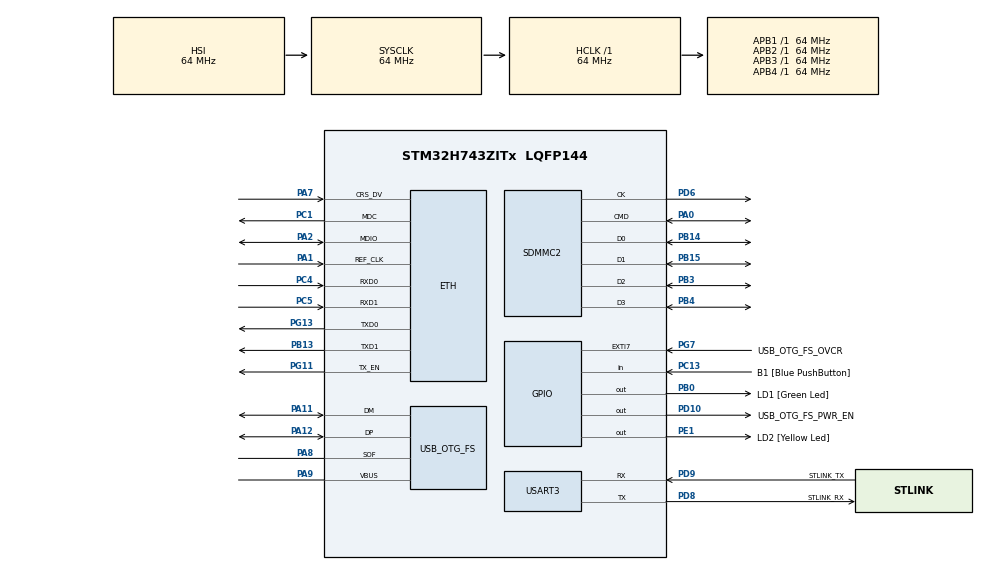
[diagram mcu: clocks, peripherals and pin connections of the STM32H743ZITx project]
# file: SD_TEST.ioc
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ETH.MediaInterface=HAL_ETH_RMII_MODE
Mcu.Family=STM32H7
Mcu.Name=STM32H743ZITx
Mcu.Package=LQFP144
NVIC.PriorityGroup=NVIC_PRIORITYGROUP_4
PA0.Mode=SD_4_bits_Wide_bus
PA0.Signal=SDMMC2_CMD
PA1.Mode=RMII
PA1.Signal=ETH_REF_CLK
PA11.Mode=Device_Only
PA11.Signal=USB_OTG_FS_DM
PA12.Mode=Device_Only
PA12.Signal=USB_OTG_FS_DP
PA2.Mode=RMII
PA2.Signal=ETH_MDIO
PA7.Mode=RMII
PA7.Signal=ETH_CRS_DV
PA8.Mode=Activate_SOF_FS
PA8.Signal=USB_OTG_FS_SOF
PA9.Mode=Activate_VBUS
PA9.Signal=USB_OTG_FS_VBUS
PB0.GPIO_Label=LD1 [Green Led]
PB0.Signal=GPIO_Output
PB13.Mode=RMII
PB13.Signal=ETH_TXD1
PB14.Mode=SD_4_bits_Wide_bus
PB14.Signal=SDMMC2_D0
PB15.Mode=SD_4_bits_Wide_bus
PB15.Signal=SDMMC2_D1
PB3\ (JTDO/TRACESWO).Mode=SD_4_bits_Wide_bus
PB3\ (JTDO/TRACESWO).Signal=SDMMC2_D2
PB4\ (NJTRST).Mode=SD_4_bits_Wide_bus
PB4\ (NJTRST).Signal=SDMMC2_D3
PC1.Mode=RMII
PC1.Signal=ETH_MDC
PC13.GPIO_Label=B1 [Blue PushButton]
PC13.Signal=GPIO_Input
PC14-OSC32_IN\ (OSC32_IN).Mode=LSE-External-Oscillator
PC14-OSC32_IN\ (OSC32_IN).Signal=RCC_OSC32_IN
PC15-OSC32_OUT\ (OSC32_OUT).Mode=LSE-External-Oscillator
PC15-OSC32_OUT\ (OSC32_OUT).Signal=RCC_OSC32_OUT
PC4.Mode=RMII
PC4.Signal=ETH_RXD0
PC5.Mode=RMII
PC5.Signal=ETH_RXD1
PD10.GPIO_Label=USB_OTG_FS_PWR_EN
PD10.Signal=GPIO_Output
PD6.Mode=SD_4_bits_Wide_bus
PD6.Signal=SDMMC2_CK
PD8.GPIO_Label=STLINK_RX
PD8.Mode=Asynchronous
PD8.Signal=USART3_TX
PD9.GPIO_Label=STLINK_TX
PD9.Mode=Asynchronous
PD9.Signal=USART3_RX
PE1.GPIO_Label=LD2 [Yellow Led]
PE1.Signal=GPIO_Output
PG11.Mode=RMII
PG11.Signal=ETH_TX_EN
PG13.Mode=RMII
PG13.Signal=ETH_TXD0
PG7.GPIO_Label=USB_OTG_FS_OVCR
PG7.Signal=GPXTI7
PH0-OSC_IN\ (PH0).Mode=HSE-External-Clock-Source
PH0-OSC_IN\ (PH0).Signal=RCC_OSC_IN
PH1-OSC_OUT\ (PH1).Signal=RCC_OSC_OUT
ProjectManager.HeapSize=0x200
ProjectManager.StackSize=0x400
ProjectManager.TargetToolchain=STM32CubeIDE
RCC.ADCFreq_Value=16125000
RCC.APB1Freq_Value=64000000
RCC.APB2Freq_Value=64000000
RCC.APB3Freq_Value=64000000
RCC.APB4Freq_Value=64000000
RCC.CortexFreq_Value=64000000
RCC.DIVM1=1
RCC.DIVN1=24
RCC.DIVQ1=4
RCC.HCLKFreq_Value=64000000
RCC.HSE_VALUE=8000000
RCC.PLLFRACN=0
RCC.PWR_Regulator_Voltage_Scale=PWR_REGULATOR_VOLTAGE_SCALE2
RCC.SYSCLKFreq_VALUE=64000000
RCC.USBFreq_Value=48000000
SDMMC2.ClockDiv=7
USART3.VirtualMode-Asynchronous=VM_ASYNC
USB_OTG_FS.VirtualMode=Device_Only
board=NUCLEO-H743ZI2

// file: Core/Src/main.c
/* USER CODE BEGIN Header */
/**
  ******************************************************************************
  * @file           : main.c
  * @brief          : Main program body
  ******************************************************************************
  * @attention
  *
  * <h2><center>&copy; Copyright (c) 2022 STMicroelectronics.
  * All rights reserved.</center></h2>
  *
  * This software component is licensed by ST under BSD 3-Clause license,
  * the "License"; You may not use this file except in compliance with the
  * License. You may obtain a copy of the License at:
  *                        opensource.org/licenses/BSD-3-Clause
  *
  ******************************************************************************
  */
/* USER CODE END Header */
#include "main.h"
#include "string.h"

/* USER CODE BEGIN Includes */
#include <stdio.h>
/* USER CODE END Includes */

#if defined ( __ICCARM__ ) /*!< IAR Compiler */
#pragma location=0x30000000
ETH_DMADescTypeDef  DMARxDscrTab[ETH_RX_DESC_CNT]; /* Ethernet Rx DMA Descriptors */
#pragma location=0x30000200
ETH_DMADescTypeDef  DMATxDscrTab[ETH_TX_DESC_CNT]; /* Ethernet Tx DMA Descriptors */
#pragma location=0x30000260
uint8_t Rx_Buff[ETH_RX_DESC_CNT][ETH_MAX_PACKET_SIZE]; /* Ethernet Receive Buffers */

#elif defined ( __CC_ARM )  /* MDK ARM Compiler */

__attribute__((at(0x30000000))) ETH_DMADescTypeDef  DMARxDscrTab[ETH_RX_DESC_CNT]; /* Ethernet Rx DMA Descriptors */
__attribute__((at(0x30000200))) ETH_DMADescTypeDef  DMATxDscrTab[ETH_TX_DESC_CNT]; /* Ethernet Tx DMA Descriptors */
__attribute__((at(0x30000260))) uint8_t Rx_Buff[ETH_RX_DESC_CNT][ETH_MAX_PACKET_SIZE]; /* Ethernet Receive Buffer */

#elif defined ( __GNUC__ ) /* GNU Compiler */
ETH_DMADescTypeDef DMARxDscrTab[ETH_RX_DESC_CNT] __attribute__((section(".RxDecripSection"))); /* Ethernet Rx DMA Descriptors */
ETH_DMADescTypeDef DMATxDscrTab[ETH_TX_DESC_CNT] __attribute__((section(".TxDecripSection")));   /* Ethernet Tx DMA Descriptors */
uint8_t Rx_Buff[ETH_RX_DESC_CNT][ETH_MAX_PACKET_SIZE] __attribute__((section(".RxArraySection"))); /* Ethernet Receive Buffers */
#endif

ETH_TxPacketConfig TxConfig;

ETH_HandleTypeDef heth;

SD_HandleTypeDef hsd2;

UART_HandleTypeDef huart3;

PCD_HandleTypeDef hpcd_USB_OTG_FS;

void SystemClock_Config(void);
static void MX_GPIO_Init(void);
static void MX_ETH_Init(void);
static void MX_USART3_UART_Init(void);
static void MX_USB_OTG_FS_PCD_Init(void);
static void MX_SDMMC2_SD_Init(void);
/* USER CODE BEGIN PFP */
#ifdef __GNUC__
/* With GCC, small printf (option LD Linker->Libraries->Small printf
   set to 'Yes') calls __io_putchar() */
#define PUTCHAR_PROTOTYPE int __io_putchar(int ch)
#define GETCHAR_PROTOTYPE int __io_getchar()
#else
#define PUTCHAR_PROTOTYPE int fputc(int ch, FILE *f)
#endif /* __GNUC__ */
/* USER CODE END PFP */

int main(void)
{

  /* MCU Configuration--------------------------------------------------------*/

  /* Reset of all peripherals, Initializes the Flash interface and the Systick. */
  HAL_Init();

  /* Configure the system clock */
  SystemClock_Config();

  /* Initialize all configured peripherals */
  MX_GPIO_Init();
  MX_ETH_Init();
  MX_USART3_UART_Init();
  MX_USB_OTG_FS_PCD_Init();
  MX_SDMMC2_SD_Init();
  /* USER CODE BEGIN 2 */
  // Make sure the thing works
  HAL_SD_CardStateTypeDef card_status;
  uint8_t sd_tx_buffer[512];
  sd_tx_buffer[0] = 3;
  HAL_StatusTypeDef status = HAL_SD_WriteBlocks(&hsd2, sd_tx_buffer, 0x20000, 1, 5000);
  if (status != HAL_OK) {
    printf("MCU raised status %x, error code %lx, when writing blocks\r\n", status, hsd2.ErrorCode);
    return -1;
  }
  while ((card_status = HAL_SD_GetCardState(&hsd2)) != HAL_SD_CARD_TRANSFER) { // Wait for card to finish writing
	if (card_status == HAL_SD_CARD_DISCONNECTED || card_status == HAL_SD_CARD_ERROR) {
		printf("Card raised status %lx, error code %lx, while writing blocks\r\n", card_status, hsd2.ErrorCode);
		return -1;
	}
  }

  uint8_t sd_rx_buffer[512];
  status = HAL_SD_ReadBlocks(&hsd2, sd_rx_buffer, 0x20000, 1, 500);
  if (status != HAL_OK) {
	printf("MCU raised status %x, error code %lx, when reading blocks\r\n", status, hsd2.ErrorCode);
	return -1;
  }
  while ((card_status = HAL_SD_GetCardState(&hsd2)) != HAL_SD_CARD_TRANSFER) { // Wait for card to finish reading
  	if (card_status == HAL_SD_CARD_DISCONNECTED || card_status == HAL_SD_CARD_ERROR) {
  		printf("Card raised status %lx, error code %lx, while reading blocks\r\n", card_status, hsd2.ErrorCode);
  		return -1;
  	}
  }

  printf("Wrote nothing, returned %d\r\n", /*sd_tx_buffer[0], */sd_rx_buffer[0]);
  /* USER CODE END 2 */

  /* Infinite loop */
  while (1)
  {

  }
}

void SystemClock_Config(void)
{
  RCC_OscInitTypeDef RCC_OscInitStruct = {0};
  RCC_ClkInitTypeDef RCC_ClkInitStruct = {0};

  /** Supply configuration update enable
  */
  HAL_PWREx_ConfigSupply(PWR_LDO_SUPPLY);

  /** Configure the main internal regulator output voltage
  */
  __HAL_PWR_VOLTAGESCALING_CONFIG(PWR_REGULATOR_VOLTAGE_SCALE2);

  while(!__HAL_PWR_GET_FLAG(PWR_FLAG_VOSRDY)) {}

  /** Initializes the RCC Oscillators according to the specified parameters
  * in the RCC_OscInitTypeDef structure.
  */
  RCC_OscInitStruct.OscillatorType = RCC_OSCILLATORTYPE_HSI|RCC_OSCILLATORTYPE_HSE;
  RCC_OscInitStruct.HSEState = RCC_HSE_BYPASS;
  RCC_OscInitStruct.HSIState = RCC_HSI_DIV1;
  RCC_OscInitStruct.HSICalibrationValue = RCC_HSICALIBRATION_DEFAULT;
  RCC_OscInitStruct.PLL.PLLState = RCC_PLL_ON;
  RCC_OscInitStruct.PLL.PLLSource = RCC_PLLSOURCE_HSE;
  RCC_OscInitStruct.PLL.PLLM = 1;
  RCC_OscInitStruct.PLL.PLLN = 24;
  RCC_OscInitStruct.PLL.PLLP = 2;
  RCC_OscInitStruct.PLL.PLLQ = 4;
  RCC_OscInitStruct.PLL.PLLR = 2;
  RCC_OscInitStruct.PLL.PLLRGE = RCC_PLL1VCIRANGE_3;
  RCC_OscInitStruct.PLL.PLLVCOSEL = RCC_PLL1VCOWIDE;
  RCC_OscInitStruct.PLL.PLLFRACN = 0;
  if (HAL_RCC_OscConfig(&RCC_OscInitStruct) != HAL_OK)
  {
    Error_Handler();
  }

  /** Initializes the CPU, AHB and APB buses clocks
  */
  RCC_ClkInitStruct.ClockType = RCC_CLOCKTYPE_HCLK|RCC_CLOCKTYPE_SYSCLK
                              |RCC_CLOCKTYPE_PCLK1|RCC_CLOCKTYPE_PCLK2
                              |RCC_CLOCKTYPE_D3PCLK1|RCC_CLOCKTYPE_D1PCLK1;
  RCC_ClkInitStruct.SYSCLKSource = RCC_SYSCLKSOURCE_HSI;
  RCC_ClkInitStruct.SYSCLKDivider = RCC_SYSCLK_DIV1;
  RCC_ClkInitStruct.AHBCLKDivider = RCC_HCLK_DIV1;
  RCC_ClkInitStruct.APB3CLKDivider = RCC_APB3_DIV1;
  RCC_ClkInitStruct.APB1CLKDivider = RCC_APB1_DIV1;
  RCC_ClkInitStruct.APB2CLKDivider = RCC_APB2_DIV1;
  RCC_ClkInitStruct.APB4CLKDivider = RCC_APB4_DIV1;

  if (HAL_RCC_ClockConfig(&RCC_ClkInitStruct, FLASH_LATENCY_1) != HAL_OK)
  {
    Error_Handler();
  }
}

static void MX_ETH_Init(void)
{

   static uint8_t MACAddr[6];

  heth.Instance = ETH;
  MACAddr[0] = 0x00;
  MACAddr[1] = 0x80;
  MACAddr[2] = 0xE1;
  MACAddr[3] = 0x00;
  MACAddr[4] = 0x00;
  MACAddr[5] = 0x00;
  heth.Init.MACAddr = &MACAddr[0];
  heth.Init.MediaInterface = HAL_ETH_RMII_MODE;
  heth.Init.TxDesc = DMATxDscrTab;
  heth.Init.RxDesc = DMARxDscrTab;
  heth.Init.RxBuffLen = 1524;

  if (HAL_ETH_Init(&heth) != HAL_OK)
  {
    Error_Handler();
  }

  memset(&TxConfig, 0 , sizeof(ETH_TxPacketConfig));
  TxConfig.Attributes = ETH_TX_PACKETS_FEATURES_CSUM | ETH_TX_PACKETS_FEATURES_CRCPAD;
  TxConfig.ChecksumCtrl = ETH_CHECKSUM_IPHDR_PAYLOAD_INSERT_PHDR_CALC;
  TxConfig.CRCPadCtrl = ETH_CRC_PAD_INSERT;

}

static void MX_SDMMC2_SD_Init(void)
{

  hsd2.Instance = SDMMC2;
  hsd2.Init.ClockEdge = SDMMC_CLOCK_EDGE_RISING;
  hsd2.Init.ClockPowerSave = SDMMC_CLOCK_POWER_SAVE_DISABLE;
  hsd2.Init.BusWide = SDMMC_BUS_WIDE_4B;
  hsd2.Init.HardwareFlowControl = SDMMC_HARDWARE_FLOW_CONTROL_DISABLE;
  hsd2.Init.ClockDiv = 7;
  if (HAL_SD_Init(&hsd2) != HAL_OK)
  {
    Error_Handler();
  }

}

static void MX_USART3_UART_Init(void)
{

  huart3.Instance = USART3;
  huart3.Init.BaudRate = 115200;
  huart3.Init.WordLength = UART_WORDLENGTH_8B;
  huart3.Init.StopBits = UART_STOPBITS_1;
  huart3.Init.Parity = UART_PARITY_NONE;
  huart3.Init.Mode = UART_MODE_TX_RX;
  huart3.Init.HwFlowCtl = UART_HWCONTROL_NONE;
  huart3.Init.OverSampling = UART_OVERSAMPLING_16;
  huart3.Init.OneBitSampling = UART_ONE_BIT_SAMPLE_DISABLE;
  huart3.Init.ClockPrescaler = UART_PRESCALER_DIV1;
  huart3.AdvancedInit.AdvFeatureInit = UART_ADVFEATURE_NO_INIT;
  if (HAL_UART_Init(&huart3) != HAL_OK)
  {
    Error_Handler();
  }
  if (HAL_UARTEx_SetTxFifoThreshold(&huart3, UART_TXFIFO_THRESHOLD_1_8) != HAL_OK)
  {
    Error_Handler();
  }
  if (HAL_UARTEx_SetRxFifoThreshold(&huart3, UART_RXFIFO_THRESHOLD_1_8) != HAL_OK)
  {
    Error_Handler();
  }
  if (HAL_UARTEx_DisableFifoMode(&huart3) != HAL_OK)
  {
    Error_Handler();
  }

}

static void MX_USB_OTG_FS_PCD_Init(void)
{

  hpcd_USB_OTG_FS.Instance = USB_OTG_FS;
  hpcd_USB_OTG_FS.Init.dev_endpoints = 9;
  hpcd_USB_OTG_FS.Init.speed = PCD_SPEED_FULL;
  hpcd_USB_OTG_FS.Init.dma_enable = DISABLE;
  hpcd_USB_OTG_FS.Init.phy_itface = PCD_PHY_EMBEDDED;
  hpcd_USB_OTG_FS.Init.Sof_enable = ENABLE;
  hpcd_USB_OTG_FS.Init.low_power_enable = DISABLE;
  hpcd_USB_OTG_FS.Init.lpm_enable = DISABLE;
  hpcd_USB_OTG_FS.Init.battery_charging_enable = ENABLE;
  hpcd_USB_OTG_FS.Init.vbus_sensing_enable = ENABLE;
  hpcd_USB_OTG_FS.Init.use_dedicated_ep1 = DISABLE;
  if (HAL_PCD_Init(&hpcd_USB_OTG_FS) != HAL_OK)
  {
    Error_Handler();
  }

}

static void MX_GPIO_Init(void)
{
  GPIO_InitTypeDef GPIO_InitStruct = {0};

  /* GPIO Ports Clock Enable */
  __HAL_RCC_GPIOC_CLK_ENABLE();
  __HAL_RCC_GPIOH_CLK_ENABLE();
  __HAL_RCC_GPIOA_CLK_ENABLE();
  __HAL_RCC_GPIOB_CLK_ENABLE();
  __HAL_RCC_GPIOD_CLK_ENABLE();
  __HAL_RCC_GPIOG_CLK_ENABLE();
  __HAL_RCC_GPIOE_CLK_ENABLE();

  /*Configure GPIO pin Output Level */
  HAL_GPIO_WritePin(LD1_GPIO_Port, LD1_Pin, GPIO_PIN_RESET);

  /*Configure GPIO pin Output Level */
  HAL_GPIO_WritePin(USB_OTG_FS_PWR_EN_GPIO_Port, USB_OTG_FS_PWR_EN_Pin, GPIO_PIN_RESET);

  /*Configure GPIO pin Output Level */
  HAL_GPIO_WritePin(LD2_GPIO_Port, LD2_Pin, GPIO_PIN_RESET);

  /*Configure GPIO pin : B1_Pin */
  GPIO_InitStruct.Pin = B1_Pin;
  GPIO_InitStruct.Mode = GPIO_MODE_INPUT;
  GPIO_InitStruct.Pull = GPIO_NOPULL;
  HAL_GPIO_Init(B1_GPIO_Port, &GPIO_InitStruct);

  /*Configure GPIO pin : LD1_Pin */
  GPIO_InitStruct.Pin = LD1_Pin;
  GPIO_InitStruct.Mode = GPIO_MODE_OUTPUT_PP;
  GPIO_InitStruct.Pull = GPIO_NOPULL;
  GPIO_InitStruct.Speed = GPIO_SPEED_FREQ_LOW;
  HAL_GPIO_Init(LD1_GPIO_Port, &GPIO_InitStruct);

  /*Configure GPIO pin : USB_OTG_FS_PWR_EN_Pin */
  GPIO_InitStruct.Pin = USB_OTG_FS_PWR_EN_Pin;
  GPIO_InitStruct.Mode = GPIO_MODE_OUTPUT_PP;
  GPIO_InitStruct.Pull = GPIO_NOPULL;
  GPIO_InitStruct.Speed = GPIO_SPEED_FREQ_LOW;
  HAL_GPIO_Init(USB_OTG_FS_PWR_EN_GPIO_Port, &GPIO_InitStruct);

  /*Configure GPIO pin : USB_OTG_FS_OVCR_Pin */
  GPIO_InitStruct.Pin = USB_OTG_FS_OVCR_Pin;
  GPIO_InitStruct.Mode = GPIO_MODE_IT_RISING;
  GPIO_InitStruct.Pull = GPIO_NOPULL;
  HAL_GPIO_Init(USB_OTG_FS_OVCR_GPIO_Port, &GPIO_InitStruct);

  /*Configure GPIO pin : LD2_Pin */
  GPIO_InitStruct.Pin = LD2_Pin;
  GPIO_InitStruct.Mode = GPIO_MODE_OUTPUT_PP;
  GPIO_InitStruct.Pull = GPIO_NOPULL;
  GPIO_InitStruct.Speed = GPIO_SPEED_FREQ_LOW;
  HAL_GPIO_Init(LD2_GPIO_Port, &GPIO_InitStruct);

}

/* USER CODE BEGIN 4 */
/**
  * @brief  Retargets the C library printf and scanf functions to the UART.
  * @param  None
  * @retval None
  */

PUTCHAR_PROTOTYPE
{
  /* Place your implementation of fputc here */
  /* e.g. write a character to the LPUART1 and Loop until the end of transmission */
  HAL_UART_Transmit(&huart3, (uint8_t *)&ch, 1, 0xFFFF);

  return ch;
}

GETCHAR_PROTOTYPE
{
	uint8_t ch;

	HAL_UART_Receive(&huart3, &ch, 1, 0xFFFF);

	return ch;
}
/* USER CODE END 4 */

void Error_Handler(void)
{
  __disable_irq();
  while (1)
  {
  }
}
